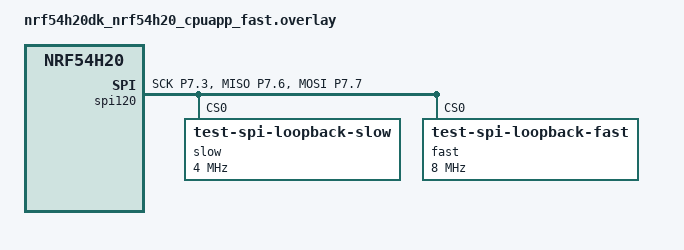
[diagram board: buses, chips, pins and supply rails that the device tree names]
/*
 * Copyright (c) 2024 Nordic Semiconductor ASA
 *
 * SPDX-License-Identifier: Apache-2.0
 */

&pinctrl {
	spi120_default: spi120_default {
		group1 {
			psels = <NRF_PSEL(SPIM_SCK, 7, 3)>,
				<NRF_PSEL(SPIM_MISO, 7, 6)>,
				<NRF_PSEL(SPIM_MOSI, 7, 7)>;
		};
	};

	spi120_sleep: spi120_sleep {
		group1 {
			psels = <NRF_PSEL(SPIM_SCK, 7, 3)>,
				<NRF_PSEL(SPIM_MISO, 7, 6)>,
				<NRF_PSEL(SPIM_MOSI, 7, 7)>;
			low-power-enable;
		};
	};
};

&dma_fast_region {
	status = "okay";
};

&spi120 {
	status = "okay";
	pinctrl-0 = <&spi120_default>;
	pinctrl-1 = <&spi120_sleep>;
	pinctrl-names = "default", "sleep";
	overrun-character = <0x00>;
	memory-regions = <&dma_fast_region>;
	zephyr,pm-device-runtime-auto;
	slow@0 {
		compatible = "test-spi-loopback-slow";
		reg = <0>;
		spi-max-frequency = <DT_FREQ_M(4)>;
	};
	fast@0 {
		compatible = "test-spi-loopback-fast";
		reg = <0>;
		spi-max-frequency = <DT_FREQ_M(8)>;
	};
};
